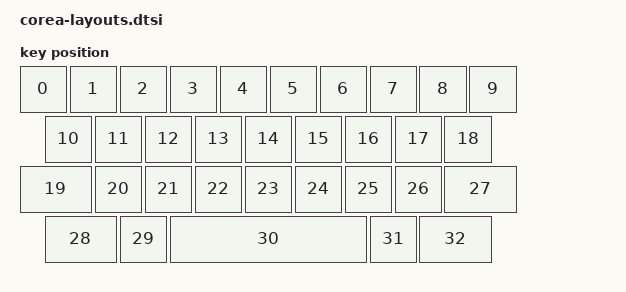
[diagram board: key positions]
#include <physical_layouts.dtsi>

/ {
    physical_layout_corea: physical_layout_corea {
        compatible = "zmk,physical-layout";
        display-name = "corea";
        keys  //                     w   h    x    y     rot    rx    ry
            = <&key_physical_attrs 100 100    0    0       0     0     0>
            , <&key_physical_attrs 100 100  100    0       0     0     0>
            , <&key_physical_attrs 100 100  200    0       0     0     0>
            , <&key_physical_attrs 100 100  300    0       0     0     0>
            , <&key_physical_attrs 100 100  400    0       0     0     0>
            , <&key_physical_attrs 100 100  500    0       0     0     0>
            , <&key_physical_attrs 100 100  600    0       0     0     0>
            , <&key_physical_attrs 100 100  700    0       0     0     0>
            , <&key_physical_attrs 100 100  800    0       0     0     0>
            , <&key_physical_attrs 100 100  900    0       0     0     0>
            , <&key_physical_attrs 100 100   50  100       0     0     0>
            , <&key_physical_attrs 100 100  150  100       0     0     0>
            , <&key_physical_attrs 100 100  250  100       0     0     0>
            , <&key_physical_attrs 100 100  350  100       0     0     0>
            , <&key_physical_attrs 100 100  450  100       0     0     0>
            , <&key_physical_attrs 100 100  550  100       0     0     0>
            , <&key_physical_attrs 100 100  650  100       0     0     0>
            , <&key_physical_attrs 100 100  750  100       0     0     0>
            , <&key_physical_attrs 100 100  850  100       0     0     0>
            , <&key_physical_attrs 150 100    0  200       0     0     0>
            , <&key_physical_attrs 100 100  150  200       0     0     0>
            , <&key_physical_attrs 100 100  250  200       0     0     0>
            , <&key_physical_attrs 100 100  350  200       0     0     0>
            , <&key_physical_attrs 100 100  450  200       0     0     0>
            , <&key_physical_attrs 100 100  550  200       0     0     0>
            , <&key_physical_attrs 100 100  650  200       0     0     0>
            , <&key_physical_attrs 100 100  750  200       0     0     0>
            , <&key_physical_attrs 150 100  850  200       0     0     0>
            , <&key_physical_attrs 150 100   50  300       0     0     0>
            , <&key_physical_attrs 100 100  200  300       0     0     0>
            , <&key_physical_attrs 400 100  300  300       0     0     0>
            , <&key_physical_attrs 100 100  700  300       0     0     0>
            , <&key_physical_attrs 150 100  800  300       0     0     0>
            ;
    };
};
